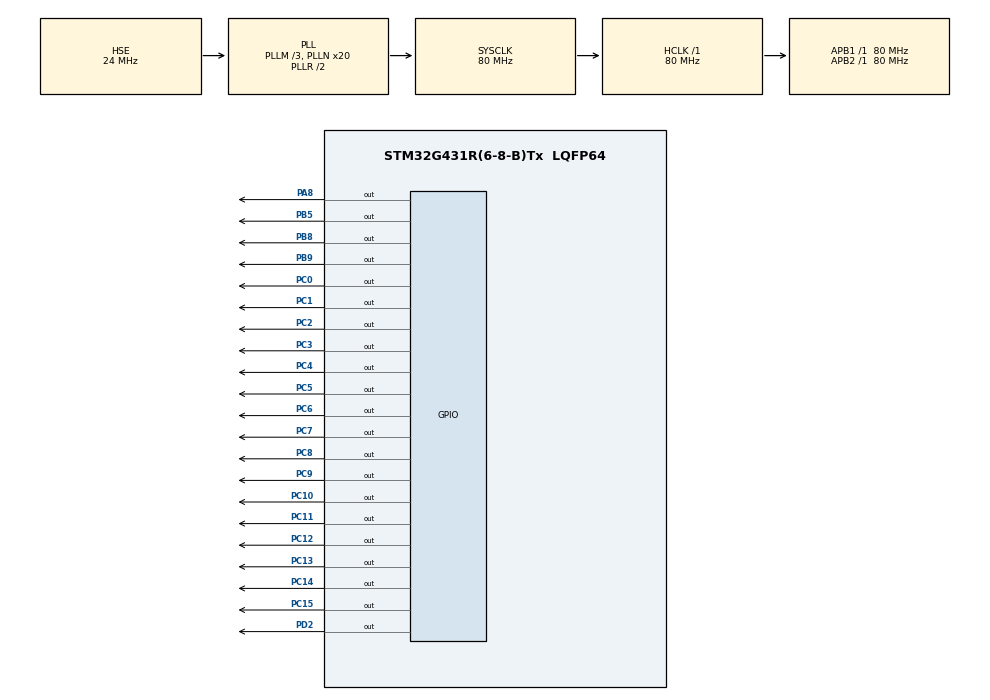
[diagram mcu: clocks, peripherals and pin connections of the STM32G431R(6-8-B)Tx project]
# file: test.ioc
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Mcu.Family=STM32G4
Mcu.Name=STM32G431R(6-8-B)Tx
Mcu.Package=LQFP64
NVIC.PriorityGroup=NVIC_PRIORITYGROUP_4
PA13.Mode=Serial_Wire
PA13.Signal=SYS_JTMS-SWDIO
PA14.Mode=Serial_Wire
PA14.Signal=SYS_JTCK-SWCLK
PA8.Signal=GPIO_Output
PB5.Signal=GPIO_Output
PB8-BOOT0.Signal=GPIO_Output
PB9.Signal=GPIO_Output
PC0.Signal=GPIO_Output
PC1.Signal=GPIO_Output
PC10.PinState=GPIO_PIN_SET
PC10.Signal=GPIO_Output
PC11.PinState=GPIO_PIN_SET
PC11.Signal=GPIO_Output
PC12.PinState=GPIO_PIN_SET
PC12.Signal=GPIO_Output
PC13.PinState=GPIO_PIN_SET
PC13.Signal=GPIO_Output
PC14-OSC32_IN.PinState=GPIO_PIN_SET
PC14-OSC32_IN.Signal=GPIO_Output
PC15-OSC32_OUT.PinState=GPIO_PIN_SET
PC15-OSC32_OUT.Signal=GPIO_Output
PC2.Signal=GPIO_Output
PC3.Signal=GPIO_Output
PC4.Signal=GPIO_Output
PC5.Signal=GPIO_Output
PC6.Signal=GPIO_Output
PC7.Signal=GPIO_Output
PC8.PinState=GPIO_PIN_SET
PC8.Signal=GPIO_Output
PC9.PinState=GPIO_PIN_SET
PC9.Signal=GPIO_Output
PD2.Signal=GPIO_Output
PF0-OSC_IN.Mode=HSE-External-Oscillator
PF0-OSC_IN.Signal=RCC_OSC_IN
PF1-OSC_OUT.Mode=HSE-External-Oscillator
PF1-OSC_OUT.Signal=RCC_OSC_OUT
ProjectManager.HeapSize=0x200
ProjectManager.StackSize=0x400
ProjectManager.TargetToolchain=MDK-ARM V5.32
RCC.ADC12Freq_Value=80000000
RCC.AHBFreq_Value=80000000
RCC.APB1Freq_Value=80000000
RCC.APB1TimFreq_Value=80000000
RCC.APB2Freq_Value=80000000
RCC.APB2TimFreq_Value=80000000
RCC.CortexFreq_Value=80000000
RCC.EXTERNAL_CLOCK_VALUE=12288000
RCC.HCLKFreq_Value=80000000
RCC.HSE_VALUE=24000000
RCC.HSI48_VALUE=48000000
RCC.HSI_VALUE=16000000
RCC.LSE_VALUE=32768
RCC.PLLM=RCC_PLLM_DIV3
RCC.PLLN=20
RCC.PLLSourceVirtual=RCC_PLLSOURCE_HSE
RCC.SYSCLKFreq_VALUE=80000000
RCC.SYSCLKSource=RCC_SYSCLKSOURCE_PLLCLK
RCC.USBFreq_Value=80000000
RCC.VCOOutputFreq_Value=160000000
VP_SYS_VS_DBSignals.Mode=DisableDeadBatterySignals
board=custom

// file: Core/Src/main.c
/* USER CODE BEGIN Header */
/**
  ******************************************************************************
  * @file           : main.c
  * @brief          : Main program body
  ******************************************************************************
  * @attention
  *
  * Copyright (c) 2023 STMicroelectronics.
  * All rights reserved.
  *
  * This software is licensed under terms that can be found in the LICENSE file
  * in the root directory of this software component.
  * If no LICENSE file comes with this software, it is provided AS-IS.
  *
  ******************************************************************************
  */
/* USER CODE END Header */
#include "main.h"
#include "gpio.h"

/* USER CODE BEGIN Includes */
#include "led.h"
#include "lcd.h"
#include "stdio.h"
/* USER CODE END Includes */

void SystemClock_Config(void);

int main(void)
{

  /* MCU Configuration--------------------------------------------------------*/

  /* Reset of all peripherals, Initializes the Flash interface and the Systick. */
  HAL_Init();

  /* Configure the system clock */
  SystemClock_Config();

  /* Initialize all configured peripherals */
  MX_GPIO_Init();
  /* USER CODE BEGIN 2 */
    LED_Disp(0x00);//LED的初始化，即让所有led灭
    LCD_Init();//LCD屏的初始化

	LCD_Clear(Black);//把屏幕清空，清成蓝色
	LCD_SetBackColor(Black);//设置背景色
	LCD_SetTextColor(White);//设置文本颜色(前景色)

/* USER CODE END 2 */

  /* Infinite loop */
  while (1)
  {

    /* USER CODE BEGIN 3 */
      LED_Disp(0x01);
      HAL_Delay(500);//延时500ms
      LED_Disp(0x00);
      HAL_Delay(500);//延时500ms

      char text[30];//字符数组
      uint i=5;
      sprintf(text,"CNBR:%d       ",i);
      LCD_DisplayStringLine(Line9, (uint8_t *)text);//将text里面的数据打印到第九行

  }
  /* USER CODE END 3 */
}

void SystemClock_Config(void)
{
  RCC_OscInitTypeDef RCC_OscInitStruct = {0};
  RCC_ClkInitTypeDef RCC_ClkInitStruct = {0};

  /** Configure the main internal regulator output voltage
  */
  HAL_PWREx_ControlVoltageScaling(PWR_REGULATOR_VOLTAGE_SCALE1);

  /** Initializes the RCC Oscillators according to the specified parameters
  * in the RCC_OscInitTypeDef structure.
  */
  RCC_OscInitStruct.OscillatorType = RCC_OSCILLATORTYPE_HSE;
  RCC_OscInitStruct.HSEState = RCC_HSE_ON;
  RCC_OscInitStruct.PLL.PLLState = RCC_PLL_ON;
  RCC_OscInitStruct.PLL.PLLSource = RCC_PLLSOURCE_HSE;
  RCC_OscInitStruct.PLL.PLLM = RCC_PLLM_DIV3;
  RCC_OscInitStruct.PLL.PLLN = 20;
  RCC_OscInitStruct.PLL.PLLP = RCC_PLLP_DIV2;
  RCC_OscInitStruct.PLL.PLLQ = RCC_PLLQ_DIV2;
  RCC_OscInitStruct.PLL.PLLR = RCC_PLLR_DIV2;
  if (HAL_RCC_OscConfig(&RCC_OscInitStruct) != HAL_OK)
  {
    Error_Handler();
  }

  /** Initializes the CPU, AHB and APB buses clocks
  */
  RCC_ClkInitStruct.ClockType = RCC_CLOCKTYPE_HCLK|RCC_CLOCKTYPE_SYSCLK
                              |RCC_CLOCKTYPE_PCLK1|RCC_CLOCKTYPE_PCLK2;
  RCC_ClkInitStruct.SYSCLKSource = RCC_SYSCLKSOURCE_PLLCLK;
  RCC_ClkInitStruct.AHBCLKDivider = RCC_SYSCLK_DIV1;
  RCC_ClkInitStruct.APB1CLKDivider = RCC_HCLK_DIV1;
  RCC_ClkInitStruct.APB2CLKDivider = RCC_HCLK_DIV1;

  if (HAL_RCC_ClockConfig(&RCC_ClkInitStruct, FLASH_LATENCY_2) != HAL_OK)
  {
    Error_Handler();
  }
}

void Error_Handler(void)
{
  __disable_irq();
  while (1)
  {
  }
}
